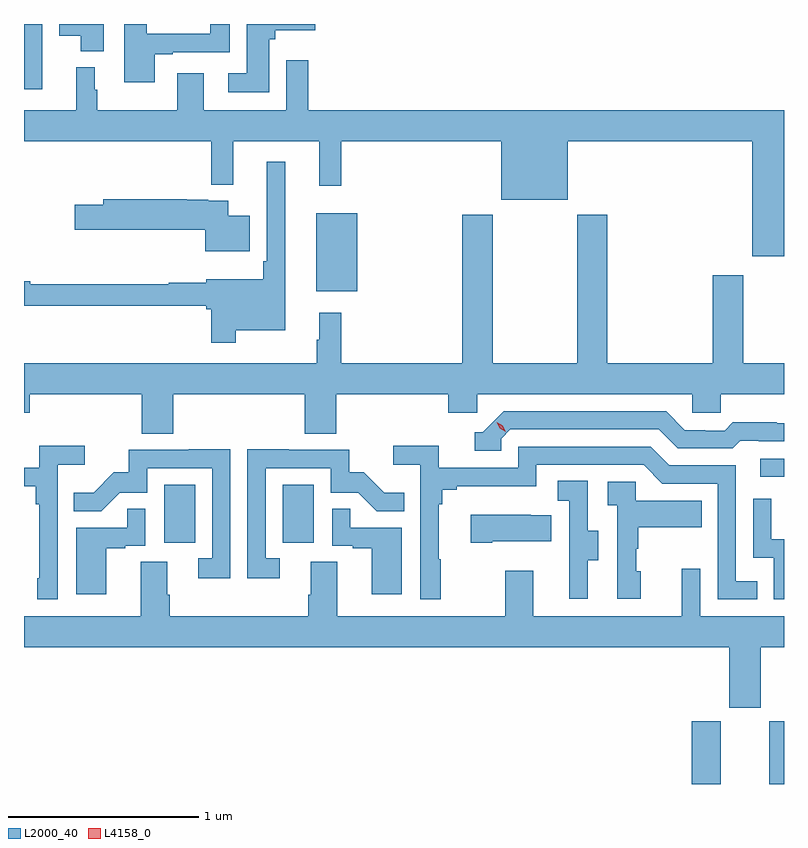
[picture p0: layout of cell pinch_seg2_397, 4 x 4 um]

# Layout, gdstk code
import gdstk
lib = gdstk.Library(unit=1e-6, precision=1e-09)
def R(c, l, rs):  # rectangles x0, y0, x1, y1
    for r in rs: c.add(gdstk.rectangle(r[:2], r[2:], *l))
def P(c, l, *ps):  # polygons
    for p in ps: c.add(gdstk.Polygon(p, *l))
L2000_40 = (2000, 40)
L4158_0 = (4158, 0)

pinch_seg2_397 = lib.new_cell('pinch_seg2_397')
R(pinch_seg2_397, L2000_40, [(955.13,616.281,955.282,616.611), (955.538,616.281,955.615,616.611), (952.352,617.55,952.516,617.857), (952.976,617.55,953.14,617.857), (955.491,617.898,955.615,617.994), (953.153,618.875,953.368,619.285), (951.615,619.938,951.711,620.281)])
P(pinch_seg2_397, L2000_40, [(952.906,620.202),(952.937,620.202),(952.937,620.249),(953.149,620.249),(953.149,620.281),(952.787,620.281),(952.787,620.023),(952.689,620.023),(952.689,619.922),(952.906,619.922)],
  [(952.303,620.121),(952.399,620.121),(952.399,620.133),(952.699,620.133),(952.699,620.281),(952.595,620.281),(952.595,620.229),(952.261,620.229),(952.261,620.281),(952.142,620.281),(952.142,619.974),(952.303,619.974)],
  [(952.036,620.281),(951.8,620.281),(951.8,620.219),(951.914,620.219),(951.914,620.138),(952.036,620.138)],
  [(955.615,619.828),(953.111,619.828),(953.111,620.089),(952.995,620.089),(952.995,619.828),(952.561,619.828),(952.561,620.023),(952.421,620.023),(952.421,619.828),(952,619.828),(952,619.935),(951.988,619.935),(951.988,620.053),(951.89,620.053),(951.89,619.828),(951.615,619.828),(951.615,619.664),(952.601,619.664),(952.601,619.436),(952.715,619.436),(952.715,619.664),(953.168,619.664),(953.168,619.431),(953.285,619.431),(953.285,619.664),(954.128,619.664),(954.128,619.355),(954.478,619.355),(954.478,619.664),(955.448,619.664),(955.448,619.058),(955.615,619.058)],
  [(952.729,618.668),(952.99,618.668),(952.99,619.555),(952.893,619.555),(952.893,619.033),(952.873,619.033),(952.873,618.937),(952.574,618.937),(952.574,618.919),(952.378,618.919),(952.378,618.911),(951.647,618.911),(951.647,618.926),(951.615,618.926),(951.615,618.798),(952.574,618.798),(952.574,618.779),(952.6,618.779),(952.6,618.603),(952.729,618.603)],
  [(952.804,619.273),(952.69,619.273),(952.69,619.351),(952.586,619.351),(952.586,619.356),(952.472,619.356),(952.472,619.359),(952.031,619.359),(952.031,619.329),(951.882,619.329),(951.882,619.199),(952.568,619.199),(952.568,619.085),(952.804,619.085)],
  [(952.4,618.332),(953.093,618.332),(953.093,618.124),(953.258,618.124),(953.258,618.332),(953.849,618.332),(953.849,618.234),(954,618.234),(954,618.332),(955.131,618.332),(955.131,618.234),(955.281,618.234),(955.281,618.332),(955.615,618.332),(955.615,618.496),(955.401,618.496),(955.401,618.958),(955.241,618.958),(955.241,618.496),(954.686,618.496),(954.686,619.276),(954.526,619.276),(954.526,618.496),(954.081,618.496),(954.081,619.276),(953.921,619.276),(953.921,618.496),(953.285,618.496),(953.285,618.76),(953.168,618.76),(953.168,618.62),(953.157,618.62),(953.157,618.496),(951.615,618.496),(951.615,618.234),(951.644,618.234),(951.644,618.332),(952.235,618.332),(952.235,618.124),(952.4,618.124)],
  [(954.126,618.099),(954.174,618.147),(954.957,618.147),(955.056,618.048),(955.345,618.048),(955.384,618.087),(955.483,618.087),(955.483,618.084),(955.615,618.084),(955.615,618.181),(955.578,618.181),(955.578,618.184),(955.345,618.184),(955.303,618.141),(955.2,618.141),(955.2,618.144),(955.093,618.144),(954.994,618.243),(954.141,618.243),(954.03,618.132),(953.987,618.132),(953.987,618.036),(954.126,618.036)],
  [(951.792,617.96),(951.934,617.96),(951.934,618.062),(951.695,618.062),(951.695,617.946),(951.615,617.946),(951.615,617.849),(951.676,617.849),(951.676,617.753),(951.696,617.753),(951.696,617.365),(951.684,617.365),(951.684,617.253),(951.792,617.253)],
  [(953.809,617.465),(953.797,617.465),(953.797,617.753),(953.816,617.753),(953.816,617.83),(953.893,617.83),(953.893,617.849),(954.312,617.849),(954.312,617.961),(954.876,617.961),(954.975,617.862),(955.266,617.862),(955.266,617.253),(955.475,617.253),(955.475,617.349),(955.362,617.349),(955.362,617.958),(955.012,617.958),(954.913,618.057),(954.216,618.057),(954.216,617.946),(953.798,617.946),(953.798,618.062),(953.559,618.062),(953.559,617.96),(953.7,617.96),(953.7,617.253),(953.809,617.253)],
  [(952.701,618.044),(952.483,618.044),(952.483,618.039),(952.165,618.039),(952.165,617.922),(952.088,617.922),(951.981,617.815),(951.877,617.815),(951.877,617.716),(952.021,617.716),(952.119,617.814),(952.263,617.814),(952.263,617.943),(952.605,617.943),(952.605,617.469),(952.533,617.469),(952.533,617.364),(952.701,617.364)],
  [(952.96,617.469),(952.887,617.469),(952.887,617.943),(953.229,617.943),(953.229,617.814),(953.373,617.814),(953.471,617.716),(953.615,617.716),(953.615,617.815),(953.511,617.815),(953.404,617.922),(953.328,617.922),(953.328,618.039),(953.009,618.039),(953.009,618.044),(952.791,618.044),(952.791,617.364),(952.96,617.364)],
  [(954.583,617.458),(954.637,617.458),(954.637,617.613),(954.582,617.613),(954.582,617.876),(954.423,617.876),(954.423,617.773),(954.486,617.773),(954.486,617.469),(954.485,617.469),(954.485,617.256),(954.583,617.256)],
  [(954.862,617.4),(954.837,617.4),(954.837,617.519),(954.847,617.519),(954.847,617.633),(955.181,617.633),(955.181,617.773),(954.834,617.773),(954.834,617.871),(954.687,617.871),(954.687,617.747),(954.738,617.747),(954.738,617.256),(954.862,617.256)],
  [(955.615,617.57),(955.548,617.57),(955.548,617.782),(955.452,617.782),(955.452,617.472),(955.56,617.472),(955.56,617.253),(955.615,617.253)],
  [(952.048,617.523),(952.148,617.523),(952.148,617.535),(952.254,617.535),(952.254,617.729),(952.159,617.729),(952.159,617.631),(951.89,617.631),(951.89,617.28),(952.048,617.28)],
  [(953.602,617.631),(953.333,617.631),(953.333,617.729),(953.238,617.729),(953.238,617.535),(953.345,617.535),(953.345,617.523),(953.444,617.523),(953.444,617.28),(953.602,617.28)],
  [(954.079,617.558),(954.389,617.558),(954.389,617.695),(954.281,617.695),(954.281,617.698),(953.967,617.698),(953.967,617.551),(954.079,617.551)],
  [(955.492,617),(955.615,617),(955.615,617.164),(955.173,617.164),(955.173,617.413),(955.076,617.413),(955.076,617.164),(954.295,617.164),(954.295,617.404),(954.148,617.404),(954.148,617.164),(953.263,617.164),(953.263,617.45),(953.123,617.45),(953.123,617.276),(953.111,617.276),(953.111,617.164),(952.382,617.164),(952.382,617.276),(952.369,617.276),(952.369,617.45),(952.229,617.45),(952.229,617.164),(951.615,617.164),(951.615,617),(955.328,617),(955.328,616.683),(955.492,616.683)])
P(pinch_seg2_397, L4158_0, [(954.15,618.134),(954.12,618.153),(954.104,618.186),(954.104,618.186),(954.104,618.186),(954.135,618.167),(954.151,618.134),(954.151,618.134)])

lib.write_gds('pinch_seg2_397.gds')
